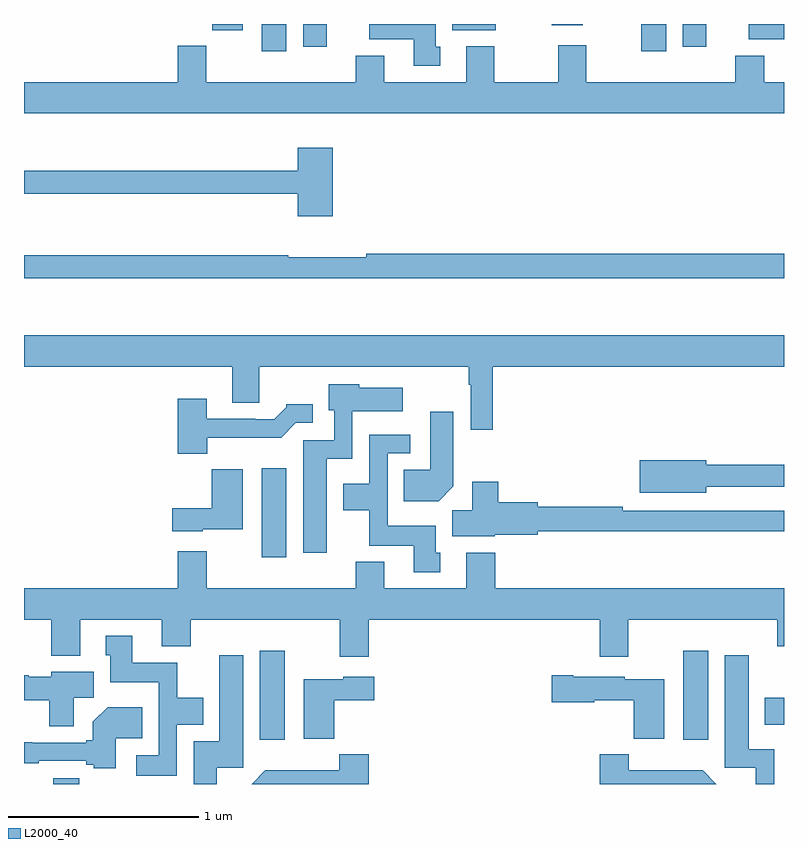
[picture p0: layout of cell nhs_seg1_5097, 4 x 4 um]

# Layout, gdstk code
import gdstk
lib = gdstk.Library(unit=1e-6, precision=1e-09)
def R(c, l, rs):  # rectangles x0, y0, x1, y1
    for r in rs: c.add(gdstk.rectangle(r[:2], r[2:], *l))
def P(c, l, *ps):  # polygons
    for p in ps: c.add(gdstk.Polygon(p, *l))
L2000_40 = (2000, 40)

nhs_seg1_5097 = lib.new_cell('nhs_seg1_5097')
R(nhs_seg1_5097, L2000_40, [(387.154,552.199,387.29,552.229), (388.241,552.432,388.372,552.901), (390.47,552.432,390.601,552.901), (390.899,552.512,391,552.652), (388.25,553.392,388.381,553.861), (388.25,556.056,388.381,556.199), (390.248,556.056,390.379,556.199), (388.469,556.08,388.594,556.199), (390.467,556.08,390.592,556.199), (390.814,556.118,391,556.199), (387.99,556.165,388.15,556.199), (389.255,556.166,389.482,556.199), (389.778,556.193,389.94,556.199)])
P(nhs_seg1_5097, L2000_40, [(389.191,556.08),(389.167,556.08),(389.167,556.199),(388.816,556.199),(388.816,556.118),(389.051,556.118),(389.051,555.978),(389.191,555.978)],
  [(391,555.892),(390.895,555.892),(390.895,556.033),(390.743,556.033),(390.743,555.892),(389.959,555.892),(389.959,556.087),(389.812,556.087),(389.812,555.892),(389.475,555.892),(389.475,556.081),(389.327,556.081),(389.327,555.892),(388.897,555.892),(388.897,556.033),(388.745,556.033),(388.745,555.892),(387.959,555.892),(387.959,556.085),(387.809,556.085),(387.809,555.892),(387,555.892),(387,555.728),(391,555.728)],
  [(388.625,555.547),(388.442,555.547),(388.442,555.427),(387,555.427),(387,555.306),(388.442,555.306),(388.442,555.186),(388.625,555.186)],
  [(391,554.99),(388.802,554.99),(388.802,554.972),(388.391,554.972),(388.391,554.983),(387,554.983),(387,554.862),(391,554.862)],
  [(389.468,554.396),(391,554.396),(391,554.56),(387,554.56),(387,554.396),(388.097,554.396),(388.097,554.206),(388.237,554.206),(388.237,554.396),(389.34,554.396),(389.34,554.3),(389.352,554.3),(389.352,554.064),(389.468,554.064)],
  [(388.594,553.91),(388.728,553.91),(388.728,554.162),(388.993,554.162),(388.993,554.284),(388.764,554.284),(388.764,554.302),(388.604,554.302),(388.604,554.166),(388.632,554.166),(388.632,554.007),(388.469,554.007),(388.469,553.416),(388.594,553.416)],
  [(387.964,554.022),(388.353,554.022),(388.431,554.1),(388.519,554.1),(388.519,554.197),(388.38,554.197),(388.38,554.182),(388.316,554.118),(388.217,554.118),(388.217,554.121),(387.961,554.121),(387.961,554.227),(387.809,554.227),(387.809,553.937),(387.964,553.937)],
  [(389.26,553.766),(389.26,554.158),(389.138,554.158),(389.138,553.852),(388.999,553.852),(388.999,553.688),(389.182,553.688)],
  [(389.191,553.416),(389.167,553.416),(389.167,553.558),(388.914,553.558),(388.914,553.941),(389.032,553.941),(389.032,554.037),(388.818,554.037),(388.818,553.78),(388.679,553.78),(388.679,553.64),(388.816,553.64),(388.816,553.454),(389.051,553.454),(389.051,553.314),(389.191,553.314)],
  [(390.592,553.764),(391,553.764),(391,553.88),(390.592,553.88),(390.592,553.904),(390.24,553.904),(390.24,553.733),(390.592,553.733)],
  [(387.942,553.541),(388.15,553.541),(388.15,553.855),(387.988,553.855),(387.988,553.651),(387.78,553.651),(387.78,553.529),(387.942,553.529)],
  [(389.478,553.511),(389.704,553.511),(389.704,553.53),(391,553.53),(391,553.638),(390.152,553.638),(390.152,553.658),(389.704,553.658),(389.704,553.682),(389.495,553.682),(389.495,553.789),(389.36,553.789),(389.36,553.64),(389.255,553.64),(389.255,553.502),(389.478,553.502)],
  [(388.814,553.064),(390.029,553.064),(390.029,552.87),(390.181,552.87),(390.181,553.064),(390.965,553.064),(390.965,552.923),(391,552.923),(391,553.228),(389.48,553.228),(389.48,553.417),(389.327,553.417),(389.327,553.228),(388.897,553.228),(388.897,553.369),(388.745,553.369),(388.745,553.228),(387.961,553.228),(387.961,553.423),(387.809,553.423),(387.809,553.228),(387,553.228),(387,553.064),(387.143,553.064),(387.143,552.875),(387.295,552.875),(387.295,553.064),(387.725,553.064),(387.725,552.923),(387.878,552.923),(387.878,553.064),(388.661,553.064),(388.661,552.87),(388.814,552.87)],
  [(387.804,552.512),(387.943,552.512),(387.943,552.652),(387.807,552.652),(387.807,552.838),(387.571,552.838),(387.571,552.979),(387.431,552.979),(387.431,552.876),(387.455,552.876),(387.455,552.734),(387.708,552.734),(387.708,552.351),(387.591,552.351),(387.591,552.243),(387.804,552.243)],
  [(388.015,552.285),(388.153,552.285),(388.153,552.877),(388.028,552.877),(388.028,552.424),(387.893,552.424),(387.893,552.199),(388.015,552.199)],
  [(390.948,552.382),(390.814,552.382),(390.814,552.877),(390.689,552.877),(390.689,552.285),(390.852,552.285),(390.852,552.199),(390.948,552.199)],
  [(387.262,552.652),(387.367,552.652),(387.367,552.79),(387.144,552.79),(387.144,552.763),(387.024,552.763),(387.024,552.771),(387,552.771),(387,552.641),(387.133,552.641),(387.133,552.504),(387.262,552.504)],
  [(390.37,552.751),(390.162,552.751),(390.162,552.763),(389.89,552.763),(389.89,552.771),(389.778,552.771),(389.778,552.629),(390,552.629),(390,552.641),(390.208,552.641),(390.208,552.437),(390.37,552.437)],
  [(388.634,552.641),(388.843,552.641),(388.843,552.763),(388.68,552.763),(388.68,552.751),(388.472,552.751),(388.472,552.437),(388.634,552.437)],
  [(387.484,552.44),(387.623,552.44),(387.623,552.604),(387.44,552.604),(387.362,552.526),(387.362,552.43),(387.327,552.43),(387.327,552.417),(387.044,552.417),(387.044,552.42),(387,552.42),(387,552.309),(387.077,552.309),(387.077,552.321),(387.327,552.321),(387.327,552.301),(387.366,552.301),(387.366,552.283),(387.484,552.283)],
  [(388.814,552.355),(388.659,552.355),(388.659,552.271),(388.27,552.271),(388.198,552.199),(388.814,552.199)],
  [(390.573,552.271),(390.184,552.271),(390.184,552.355),(390.029,552.355),(390.029,552.199),(390.644,552.199)])

lib.write_gds('nhs_seg1_5097.gds')
